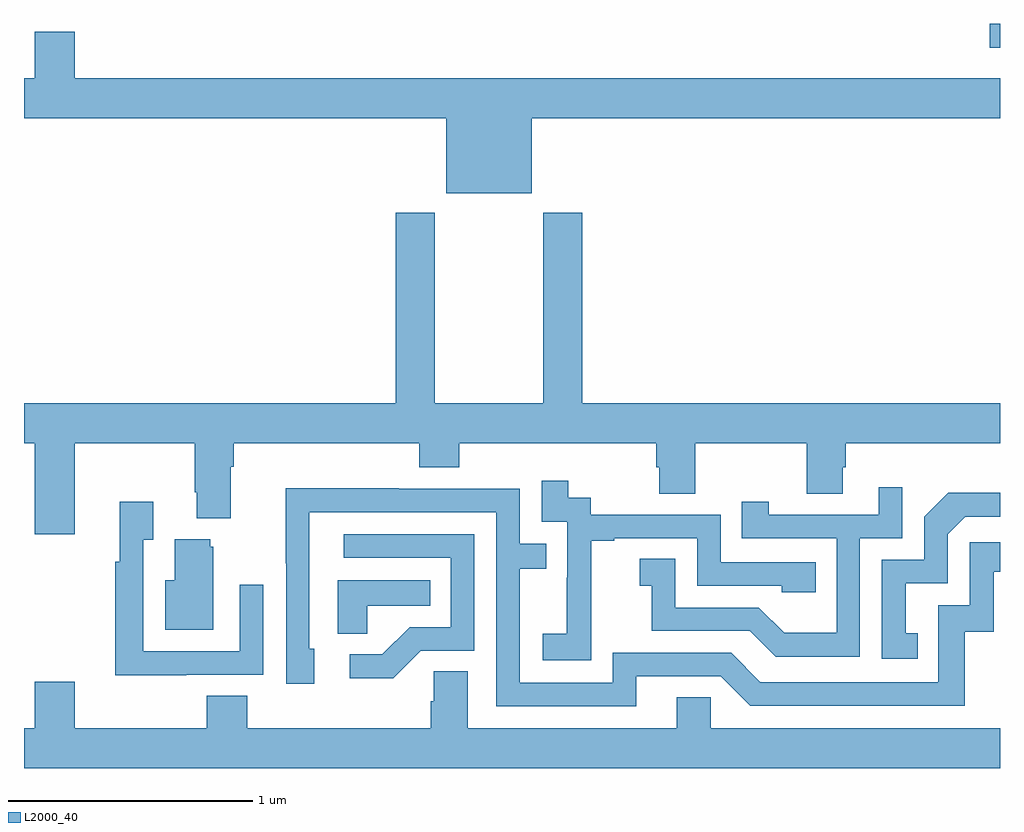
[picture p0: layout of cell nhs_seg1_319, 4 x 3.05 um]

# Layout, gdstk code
import gdstk
lib = gdstk.Library(unit=1e-6, precision=1e-09)
def R(c, l, rs):  # rectangles x0, y0, x1, y1
    for r in rs: c.add(gdstk.rectangle(r[:2], r[2:], *l))
def P(c, l, *ps):  # polygons
    for p in ps: c.add(gdstk.Polygon(p, *l))
L2000_40 = (2000, 40)

nhs_seg1_319 = lib.new_cell('nhs_seg1_319')
R(nhs_seg1_319, L2000_40, [(132.957,508.065,133,508.162)])
P(nhs_seg1_319, L2000_40, [(131.08,507.776),(133,507.776),(133,507.94),(129.208,507.94),(129.208,508.129),(129.044,508.129),(129.044,507.94),(129,507.94),(129,507.776),(130.73,507.776),(130.73,507.467),(131.08,507.467)],
  [(129.208,506.444),(129.7,506.444),(129.7,506.242),(129.707,506.242),(129.707,506.135),(129.847,506.135),(129.847,506.348),(129.86,506.348),(129.86,506.444),(130.619,506.444),(130.619,506.345),(130.784,506.345),(130.784,506.444),(131.591,506.444),(131.591,506.346),(131.603,506.346),(131.603,506.236),(131.751,506.236),(131.751,506.444),(132.208,506.444),(132.208,506.236),(132.355,506.236),(132.355,506.346),(132.368,506.346),(132.368,506.444),(133,506.444),(133,506.608),(131.288,506.608),(131.288,507.388),(131.128,507.388),(131.128,506.608),(130.683,506.608),(130.683,507.388),(130.523,507.388),(130.523,506.608),(129,506.608),(129,506.444),(129.044,506.444),(129.044,506.07),(129.208,506.07)],
  [(131.325,505.759),(131.324,505.759),(131.324,506.043),(131.419,506.043),(131.419,506.055),(131.76,506.055),(131.76,505.86),(132.105,505.86),(132.105,505.833),(132.245,505.833),(132.245,505.956),(131.856,505.956),(131.856,506.151),(131.322,506.151),(131.322,506.22),(131.23,506.22),(131.23,506.29),(131.121,506.29),(131.121,506.121),(131.226,506.121),(131.226,505.892),(131.225,505.892),(131.225,505.663),(131.127,505.663),(131.127,505.553),(131.325,505.553)],
  [(132.426,506.055),(132.6,506.055),(132.6,506.263),(132.503,506.263),(132.503,506.151),(132.052,506.151),(132.052,506.203),(131.941,506.203),(131.941,506.055),(132.33,506.055),(132.33,505.666),(132.116,505.666),(132.012,505.77),(131.67,505.77),(131.67,505.969),(131.523,505.969),(131.523,505.859),(131.572,505.859),(131.572,505.674),(131.975,505.674),(132.08,505.569),(132.426,505.569)],
  [(131.509,505.488),(131.856,505.488),(131.976,505.368),(132.856,505.368),(132.856,505.671),(132.974,505.671),(132.974,505.917),(133,505.917),(133,506.038),(132.876,506.038),(132.876,505.779),(132.747,505.779),(132.747,505.464),(132.018,505.464),(131.898,505.584),(131.412,505.584),(131.412,505.461),(131.031,505.461),(131.031,505.93),(131.141,505.93),(131.141,506.031),(131.031,506.031),(131.031,506.256),(130.535,506.256),(130.535,506.258),(130.072,506.258),(130.072,505.951),(130.074,505.951),(130.074,505.458),(130.189,505.458),(130.189,505.602),(130.17,505.602),(130.17,506.16),(130.935,506.16),(130.935,505.365),(131.509,505.365)],
  [(132.662,505.665),(132.613,505.665),(132.613,505.869),(132.786,505.869),(132.786,506.07),(132.858,506.142),(133,506.142),(133,506.24),(132.788,506.24),(132.69,506.142),(132.69,505.965),(132.516,505.965),(132.516,505.56),(132.662,505.56)],
  [(129.665,505.494),(129.981,505.494),(129.981,505.864),(129.885,505.864),(129.885,505.59),(129.489,505.59),(129.489,506.047),(129.529,506.047),(129.529,506.203),(129.392,506.203),(129.392,505.958),(129.373,505.958),(129.373,505.493),(129.665,505.493)],
  [(130.626,505.593),(130.845,505.593),(130.845,506.07),(130.311,506.07),(130.311,505.974),(130.749,505.974),(130.749,505.689),(130.58,505.689),(130.469,505.578),(130.335,505.578),(130.335,505.481),(130.513,505.481)],
  [(129.775,506.019),(129.764,506.019),(129.764,506.05),(129.617,506.05),(129.617,505.882),(129.578,505.882),(129.578,505.679),(129.775,505.679)],
  [(130.407,505.778),(130.664,505.778),(130.664,505.882),(130.286,505.882),(130.286,505.663),(130.407,505.663)],
  [(133,505.276),(131.814,505.276),(131.814,505.403),(131.675,505.403),(131.675,505.276),(130.819,505.276),(130.819,505.508),(130.68,505.508),(130.68,505.385),(130.667,505.385),(130.667,505.276),(129.914,505.276),(129.914,505.409),(129.749,505.409),(129.749,505.276),(129.208,505.276),(129.208,505.465),(129.044,505.465),(129.044,505.276),(129,505.276),(129,505.112),(133,505.112)])

lib.write_gds('nhs_seg1_319.gds')
